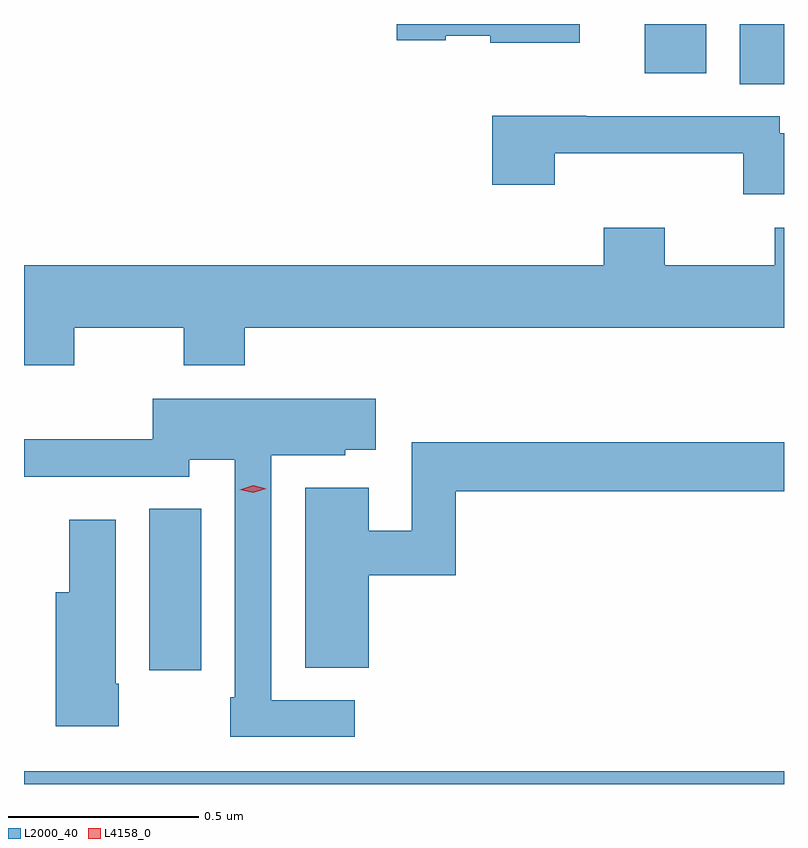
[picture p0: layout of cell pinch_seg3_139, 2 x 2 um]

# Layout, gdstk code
import gdstk
lib = gdstk.Library(unit=1e-6, precision=1e-09)
def R(c, l, rs):  # rectangles x0, y0, x1, y1
    for r in rs: c.add(gdstk.rectangle(r[:2], r[2:], *l))
def P(c, l, *ps):  # polygons
    for p in ps: c.add(gdstk.Polygon(p, *l))
L2000_40 = (2000, 40)
L4158_0 = (4158, 0)

pinch_seg3_139 = lib.new_cell('pinch_seg3_139')
R(pinch_seg3_139, L2000_40, [(1097.199,722.359,1099.199,722.392), (1097.528,722.658,1097.665,723.083), (1099.082,724.201,1099.199,724.359), (1098.833,724.23,1098.994,724.359)])
P(pinch_seg3_139, L2000_40, [(1098.661,724.359),(1098.18,724.359),(1098.18,724.316),(1098.309,724.316),(1098.309,724.328),(1098.426,724.328),(1098.426,724.31),(1098.661,724.31)],
  [(1099.199,724.072),(1099.188,724.072),(1099.188,724.116),(1098.679,724.116),(1098.679,724.118),(1098.431,724.118),(1098.431,723.936),(1098.596,723.936),(1098.596,724.019),(1099.092,724.019),(1099.092,723.911),(1099.199,723.911)],
  [(1097.331,723.56),(1097.62,723.56),(1097.62,723.461),(1097.78,723.461),(1097.78,723.56),(1099.199,723.56),(1099.199,723.823),(1099.174,723.823),(1099.174,723.724),(1098.885,723.724),(1098.885,723.823),(1098.725,723.823),(1098.725,723.724),(1097.199,723.724),(1097.199,723.461),(1097.331,723.461)],
  [(1098.07,722.58),(1097.85,722.58),(1097.85,723.224),(1098.045,723.224),(1098.045,723.239),(1098.124,723.239),(1098.124,723.373),(1097.538,723.373),(1097.538,723.266),(1097.199,723.266),(1097.199,723.168),(1097.634,723.168),(1097.634,723.212),(1097.754,723.212),(1097.754,722.587),(1097.742,722.587),(1097.742,722.484),(1098.07,722.484)],
  [(1098.106,722.908),(1098.335,722.908),(1098.335,723.13),(1099.199,723.13),(1099.199,723.259),(1098.219,723.259),(1098.219,723.026),(1098.106,723.026),(1098.106,723.139),(1097.939,723.139),(1097.939,722.665),(1098.106,722.665)],
  [(1097.448,722.623),(1097.44,722.623),(1097.44,723.055),(1097.318,723.055),(1097.318,722.863),(1097.282,722.863),(1097.282,722.511),(1097.448,722.511)])
P(pinch_seg3_139, L4158_0, [(1097.802,723.125),(1097.767,723.133),(1097.767,723.134),(1097.767,723.134),(1097.802,723.145),(1097.836,723.136),(1097.837,723.136),(1097.836,723.136)])

lib.write_gds('pinch_seg3_139.gds')
